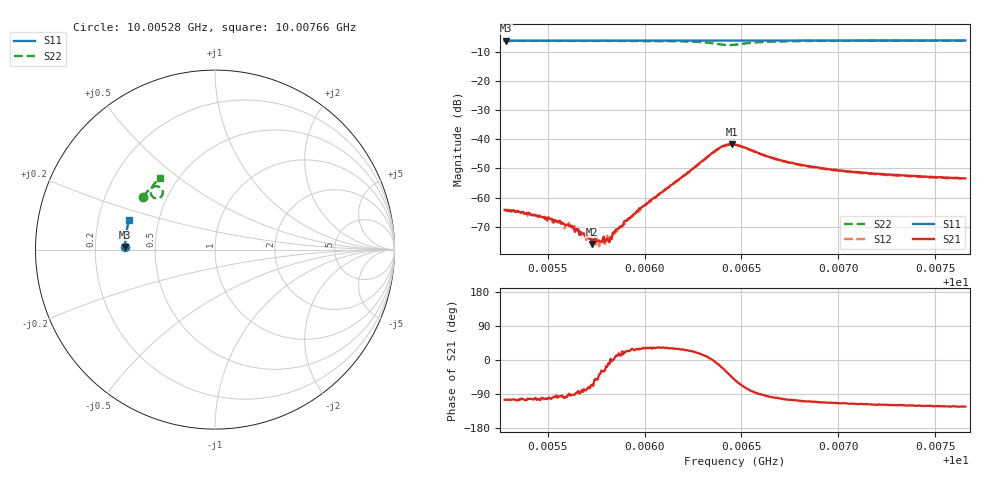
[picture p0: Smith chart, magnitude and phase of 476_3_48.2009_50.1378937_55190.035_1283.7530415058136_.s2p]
#  HZ  S  RI  R  50.00
! Rohde & Schwarz Vector Network Analyzer
! Rohde-Schwarz,ZNB20-2Port,1311601062101988,3.16
! Created: UTC 3/20/2024, 11:57:22 AM
! freq[Hz]  re:S11  im:S11  re:S21  im:S21  re:S12  im:S12  re:S22  im:S22
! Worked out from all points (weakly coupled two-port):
!   401 points, 10.00528 GHz to 10.00766 GHz, reference 50 ohm
!   highest |S21| = -41.64 dB at 10.00645 GHz (marker M1); lowest = -76.0 dB at 10.00573 GHz (marker M2)
!   lowest |S11| = -6.0 dB at 10.00528 GHz (marker M3), VSWR 3.01, Z = 16.6 + j0.682 ohm
!   |S11| at or under -10 dB: nowhere
!   |S22| runs from -7.5 to -6.0 dB; largest |S21 - S12| = 0.00051
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1.0005277e10  -0.5006 0.0149  -0.000156 -0.000592  -0.000128 -0.000582  -0.3993 0.2936
1.0005283e10  -0.5004 0.0154  -0.000157 -0.000594  -9.83e-05 -0.000586  -0.3991 0.2939
1.0005431e10  -0.5004 0.025  -0.000101 -0.000497  -9e-05 -0.000483  -0.393 0.3025
1.0005515e10  -0.5003 0.0304  -9.85e-05 -0.000416  -7.6e-05 -0.00042  -0.3895 0.3075
1.0005586e10  -0.5002 0.0351  -6.14e-05 -0.000335  -1.2e-05 -0.000294  -0.3862 0.3119
1.0005616e10  -0.5 0.037  -2.42e-05 -0.000332  2.36e-05 -0.000323  -0.3849 0.3137
1.0005675e10  -0.4998 0.0409  4.5e-05 -0.000237  3.97e-05 -0.000211  -0.382 0.3174
1.0005711e10  -0.4998 0.0434  6.36e-05 -0.000186  7.85e-05 -0.00019  -0.3802 0.3195
1.0005729e10  -0.4997 0.0443  6.7e-05 -0.000144  0.000118 -0.000161  -0.3792 0.3205
1.0005777e10  -0.4995 0.0474  0.00015 -7.91e-05  0.000142 -0.000106  -0.3767 0.3236
1.0005818e10  -0.4993 0.0502  0.000166 -3.24e-05  0.000222 -3.21e-05  -0.3744 0.3262
1.0005848e10  -0.4991 0.052  0.000267 4e-05  0.000246 2.55e-05  -0.3726 0.3281
1.0005907e10  -0.499 0.056  0.000363 0.000159  0.000358 0.000135  -0.3688 0.332
1.0006074e10  -0.4977 0.0667  0.000964 0.000634  0.000905 0.000654  -0.3552 0.3432
1.0006372e10  -0.4949 0.0859  0.00657 -0.000903  0.00649 -0.000525  -0.2933 0.331
1.0006413e10  -0.4944 0.0882  0.00706 -0.0035  0.00709 -0.00311  -0.2927 0.3069
1.0006449e10  -0.4942 0.0903  0.00589 -0.00582  0.00608 -0.00538  -0.3072 0.2896
1.0006467e10  -0.494 0.0913  0.0049 -0.00656  0.00518 -0.00613  -0.3172 0.2858
1.0006693e10  -0.4923 0.1057  -0.000884 -0.00438  -0.000627 -0.00436  -0.3577 0.3294
1.0006866e10  -0.4903 0.1168  -0.00114 -0.00319  -0.000995 -0.00316  -0.3499 0.3495
1.0007264e10  -0.4843 0.142  -0.00117 -0.00216  -0.00106 -0.0022  -0.3293 0.3766
1.0007657e10  -0.4773 0.1664  -0.00116 -0.00179  -0.00106 -0.0018  -0.3091 0.3962
